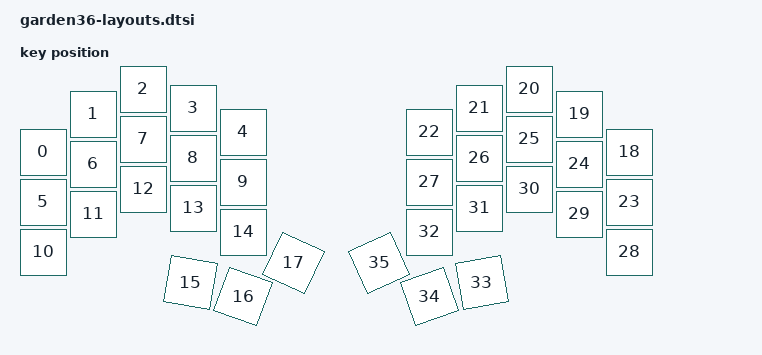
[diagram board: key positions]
#include <physical_layouts.dtsi>

/ {
    physical_layout0: physical_layout_0 {
        compatible = "zmk,physical-layout";
        display-name = "Default Layout";

        kscan = <&kscan0>;
        transform = <&default_transform>;

        keys  //                     w   h    x    y     rot    rx    ry
            = <&key_physical_attrs 100 100    0  126       0     0     0>
            , <&key_physical_attrs 100 100  100   50       0     0     0>
            , <&key_physical_attrs 100 100  200    0       0     0     0>
            , <&key_physical_attrs 100 100  300   38       0     0     0>
            , <&key_physical_attrs 100 100  400   86       0     0     0>
            , <&key_physical_attrs 100 100    0  226       0     0     0>
            , <&key_physical_attrs 100 100  100  150       0     0     0>
            , <&key_physical_attrs 100 100  200  100       0     0     0>
            , <&key_physical_attrs 100 100  300  138       0     0     0>
            , <&key_physical_attrs 100 100  400  186       0     0     0>
            , <&key_physical_attrs 100 100    0  326       0     0     0>
            , <&key_physical_attrs 100 100  100  250       0     0     0>
            , <&key_physical_attrs 100 100  200  200       0     0     0>
            , <&key_physical_attrs 100 100  300  238       0     0     0>
            , <&key_physical_attrs 100 100  400  286       0     0     0>
            , <&key_physical_attrs 100 100  295  387    1000   345   437>
            , <&key_physical_attrs 100 100  400  415    2000   450   465>
            , <&key_physical_attrs 100 100  501  348    2500   551   398>
            , <&key_physical_attrs 100 100 1173  126       0     0     0>
            , <&key_physical_attrs 100 100 1073   50       0     0     0>
            , <&key_physical_attrs 100 100  973    0       0     0     0>
            , <&key_physical_attrs 100 100  873   38       0     0     0>
            , <&key_physical_attrs 100 100  773   86       0     0     0>
            , <&key_physical_attrs 100 100 1173  226       0     0     0>
            , <&key_physical_attrs 100 100 1073  150       0     0     0>
            , <&key_physical_attrs 100 100  973  100       0     0     0>
            , <&key_physical_attrs 100 100  873  138       0     0     0>
            , <&key_physical_attrs 100 100  773  186       0     0     0>
            , <&key_physical_attrs 100 100 1173  326       0     0     0>
            , <&key_physical_attrs 100 100 1073  250       0     0     0>
            , <&key_physical_attrs 100 100  973  200       0     0     0>
            , <&key_physical_attrs 100 100  873  238       0     0     0>
            , <&key_physical_attrs 100 100  773  286       0     0     0>
            , <&key_physical_attrs 100 100  878  387 (-1000)   928   437>
            , <&key_physical_attrs 100 100  773  415 (-2000)   823   465>
            , <&key_physical_attrs 100 100  672  348 (-2500)   722   398>
            ;
    };
};
